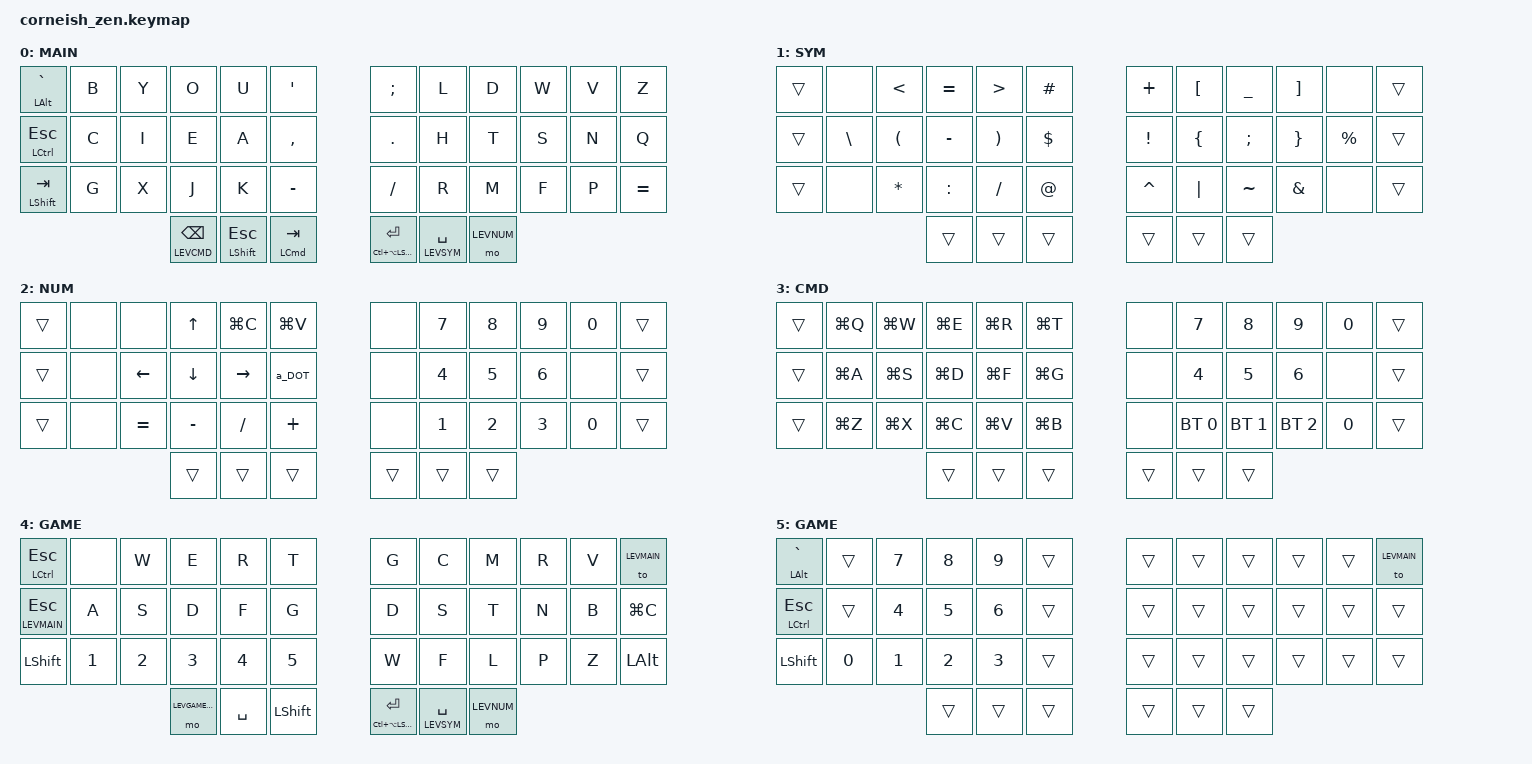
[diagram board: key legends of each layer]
#include <behaviors.dtsi>
#include <dt-bindings/zmk/keys.h>
#include <dt-bindings/zmk/bt.h>

#define LEVMAIN 0
#define LEVSHIFT 1
#define LEVSYM 2
#define LEVNUM 3
#define LEVCMD 4
#define LEVGAME 5
#define LEVGAMENUM 6

&lt {
    quick-tap-ms = <300>;
};

/ {
  chosen {
    zmk,matrix_transform = &default_transform;
    //zmk,matrix_transform = &five_column_transform;
  };
};

/ {
        behaviors {
            a_DQT: a_DQT {
                compatible = "zmk,behavior-mod-morph";
                label = "a_DQT";
                #binding-cells = <0>;
                bindings = <&kp DQT>, <&kp EXCL>;
                mods = <(MOD_LSFT|MOD_RSFT)>;
            };
            a_COMMA: a_COMMA {
                compatible = "zmk,behavior-mod-morph";
                label = "a_COMMA";
                #binding-cells = <0>;
                bindings = <&kp COMMA>, <&kp QMARK>;
                mods = <(MOD_LSFT|MOD_RSFT)>;
            };
            a_DOT: a_DOT {
                compatible = "zmk,behavior-mod-morph";
                label = "a_DOT";
                #binding-cells = <0>;
                bindings = <&kp DOT>, <&kp GRAVE>;
                mods = <(MOD_LSFT|MOD_RSFT)>;
            };
        };

        keymap {
                compatible = "zmk,keymap";

                default_layer {
                        label = "MAIN";
                        bindings = <
&mt LALT GRAVE   &kp B &kp Y   &kp O  &kp U &kp SQT         &kp SEMI  &kp L  &kp D  &kp W   &kp V    &kp Z
&mt LCTRL ESC    &kp C &kp I   &kp E  &kp A &kp COMMA       &kp DOT   &kp H  &kp T  &kp S   &kp N    &kp Q
&mt LSHIFT TAB   &kp G &kp X   &kp J  &kp K &kp MINUS       &kp SLASH &kp R  &kp M  &kp F   &kp P    &kp EQUAL

&lt LEVCMD BSPC &mt LSHIFT ESC &mt LCMD TAB                &mt LC(LA(LSHIFT)) RET &lt LEVSYM SPACE &mo LEVNUM
                        >;
                };

                punct_layer {
                        label = "SYM";
                        bindings = <
&trans &none     &kp LT    &kp EQUAL &kp GT    &kp HASH      &kp PLUS  &kp LBKT &kp UNDER &kp RBKT &none       &trans
&trans &kp BSLH  &kp LPAR  &kp MINUS &kp RPAR  &kp DLLR      &kp EXCL  &kp LBRC &kp  SEMI &kp RBRC &kp PERCENT &trans
&trans &none     &kp STAR  &kp COLON &kp SLASH &kp AT        &kp CARET &kp PIPE &kp TILDE &kp AMPS &none       &trans

&trans &trans &trans                 &trans &trans &trans
                        >;
                };

                num_layer {
                        label = "NUM";
                        bindings = <
&trans &none &none    &kp UP   &kp LG(C) &kp LG(V)      &none &kp N7 &kp N8 &kp N9 &kp N0 &trans
&trans &none &kp LEFT &kp DOWN &kp RIGHT &a_DOT         &none  &kp N4 &kp N5 &kp N6 &none  &trans
&trans &none &kp EQUAL &kp MINUS &kp SLASH  &kp PLUS    &none  &kp N1 &kp N2 &kp N3 &kp N0 &trans

&trans &trans &trans                 &trans &trans &trans
                        >;
                };

                shortcut_layer {
                        label = "CMD";
                        bindings = <
&trans &kp LG(Q) &kp LG(W) &kp LG(E) &kp LG(R) &kp LG(T)     &none &kp N7 &kp N8 &kp N9 &kp N0 &trans
&trans &kp LG(A) &kp LG(S) &kp LG(D) &kp LG(F) &kp LG(G)     &none  &kp N4 &kp N5 &kp N6 &none  &trans
&trans &kp LG(Z) &kp LG(X) &kp LG(C) &kp LG(V) &kp LG(B)     &none  &bt BT_SEL 0 &bt BT_SEL 1 &bt BT_SEL 2 &kp N0 &trans

&trans &trans &trans                 &trans &trans &trans
                        >;
                };

                game_layer {
                        label = "GAME";
                        bindings = <
&mt LCTRL ESC   &none &kp W   &kp E     &kp R &kp T         &kp G   &kp C  &kp M  &kp R   &kp V    &to LEVMAIN
&lt LEVMAIN ESC    &kp A &kp S   &kp D     &kp F &kp G        &kp D   &kp S  &kp T  &kp N   &kp B    &kp LG(C)
&kp LSHIFT       &kp N1 &kp N2 &kp N3 &kp N4 &kp N5         &kp W   &kp F  &kp L  &kp P   &kp Z    &kp LALT

&mo LEVGAMENUM &kp SPACE &kp LSHIFT                &mt LC(LA(LSHIFT)) RET &lt LEVSYM SPACE &mo LEVNUM
                        >;
                };

                game_num_layer {
                        label = "GAME";
                        bindings = <
&mt LALT GRAVE   &trans &kp N7 &kp N8 &kp N9 &trans       &trans &trans &trans &trans &trans &to LEVMAIN
&mt LCTRL ESC    &trans &kp N4 &kp N5 &kp N6 &trans       &trans &trans &trans &trans &trans &trans
&kp LSHIFT       &kp N0 &kp N1 &kp N2 &kp N3 &trans       &trans &trans &trans &trans &trans &trans

&trans &trans &trans                &trans &trans &trans
                        >;
                };

        };
};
